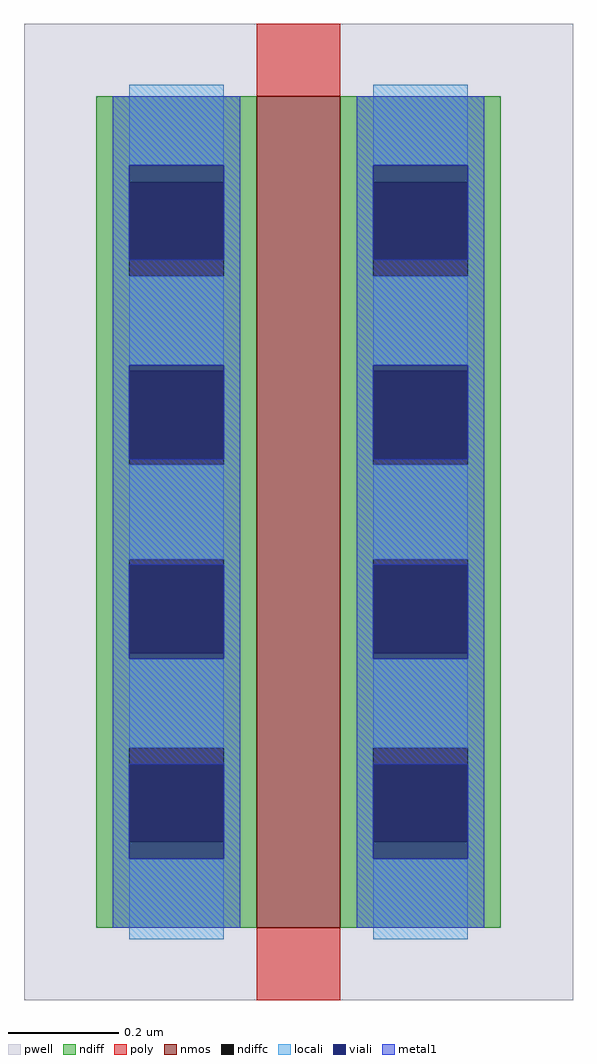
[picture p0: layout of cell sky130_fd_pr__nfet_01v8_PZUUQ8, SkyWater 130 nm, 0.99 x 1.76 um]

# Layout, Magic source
magic
tech sky130A
magscale 1 2
<< pwell >>
rect -99 -176 99 176
<< nmos >>
rect -15 -150 15 150
<< ndiff >>
rect -73 119 -15 150
rect -73 85 -61 119
rect -27 85 -15 119
rect -73 51 -15 85
rect -73 17 -61 51
rect -27 17 -15 51
rect -73 -17 -15 17
rect -73 -51 -61 -17
rect -27 -51 -15 -17
rect -73 -85 -15 -51
rect -73 -119 -61 -85
rect -27 -119 -15 -85
rect -73 -150 -15 -119
rect 15 119 73 150
rect 15 85 27 119
rect 61 85 73 119
rect 15 51 73 85
rect 15 17 27 51
rect 61 17 73 51
rect 15 -17 73 17
rect 15 -51 27 -17
rect 61 -51 73 -17
rect 15 -85 73 -51
rect 15 -119 27 -85
rect 61 -119 73 -85
rect 15 -150 73 -119
<< ndiffc >>
rect -61 85 -27 119
rect -61 17 -27 51
rect -61 -51 -27 -17
rect -61 -119 -27 -85
rect 27 85 61 119
rect 27 17 61 51
rect 27 -51 61 -17
rect 27 -119 61 -85
<< poly >>
rect -15 150 15 176
rect -15 -176 15 -150
<< locali >>
rect -61 125 -27 154
rect -61 53 -27 85
rect -61 -17 -27 17
rect -61 -85 -27 -53
rect -61 -154 -27 -125
rect 27 125 61 154
rect 27 53 61 85
rect 27 -17 61 17
rect 27 -85 61 -53
rect 27 -154 61 -125
<< viali >>
rect -61 119 -27 125
rect -61 91 -27 119
rect -61 51 -27 53
rect -61 19 -27 51
rect -61 -51 -27 -19
rect -61 -53 -27 -51
rect -61 -119 -27 -91
rect -61 -125 -27 -119
rect 27 119 61 125
rect 27 91 61 119
rect 27 51 61 53
rect 27 19 61 51
rect 27 -51 61 -19
rect 27 -53 61 -51
rect 27 -119 61 -91
rect 27 -125 61 -119
<< metal1 >>
rect -67 125 -21 150
rect -67 91 -61 125
rect -27 91 -21 125
rect -67 53 -21 91
rect -67 19 -61 53
rect -27 19 -21 53
rect -67 -19 -21 19
rect -67 -53 -61 -19
rect -27 -53 -21 -19
rect -67 -91 -21 -53
rect -67 -125 -61 -91
rect -27 -125 -21 -91
rect -67 -150 -21 -125
rect 21 125 67 150
rect 21 91 27 125
rect 61 91 67 125
rect 21 53 67 91
rect 21 19 27 53
rect 61 19 67 53
rect 21 -19 67 19
rect 21 -53 27 -19
rect 61 -53 67 -19
rect 21 -91 67 -53
rect 21 -125 27 -91
rect 61 -125 67 -91
rect 21 -150 67 -125
<< end >>
